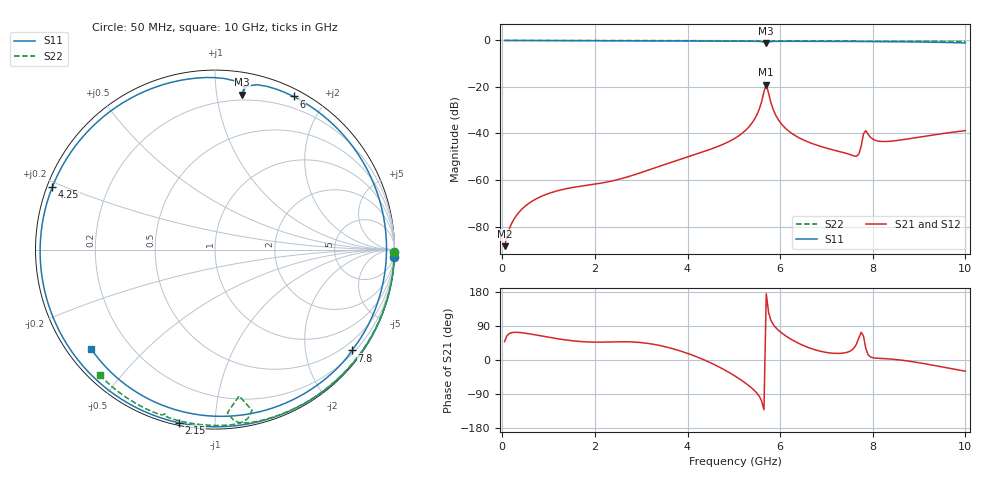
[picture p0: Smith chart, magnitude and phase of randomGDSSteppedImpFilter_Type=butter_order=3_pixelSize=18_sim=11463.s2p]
! freq	dB(S11)	phase(S11)	dB(S12)	phase(S12)
!  dB(S21)	phase(S21)	dB(S22)	phase(S22)
!S-par simulation data
#  GHz  S  DB  R 50
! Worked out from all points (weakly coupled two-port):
!   200 points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, 50 MHz to 10 GHz, reference 50 ohm
!   highest |S21| = -18.94 dB at 5.7 GHz (marker M1); lowest = -88.4 dB at 50 MHz (marker M2)
!   lowest |S11| = -1.2 dB at 5.7 GHz (marker M3), VSWR 15.09, Z = 7.96 + j58.9 ohm
!   |S11| at or under -10 dB: nowhere
!   |S22| runs from -1.7 to 0.0 dB; largest |S21 - S12| = 0
!   S11 on the Smith chart (normalised r, x): 50 MHz: 0, -47; 2.15 GHz: 0.01, -0.81; 4.25 GHz: 0.02, +0.19; 6 GHz: 0.08, +1.63; 7.8 GHz: 0.28, -3.02; 10 GHz: 0.07, -0.35
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0.05  -0.00 -2.4  -88.44 48.5  -88.44 48.5  -0.00 -0.8
0.15  -0.00 -7.3  -81.08 69.6  -81.08 69.6  -0.00 -2.3
0.4  -0.01 -19.5  -72.99 72.3  -72.99 72.3  -0.00 -6.1
0.75  -0.04 -36.4  -67.91 65.6  -67.91 65.6  -0.01 -11.5
1.75  -0.10 -83.4  -62.48 48.2  -62.48 48.2  -0.03 -26.5
2.15  -0.13 -101.8  -61.27 47.2  -61.27 47.2  -0.04 -32.4
2.75  -0.16 -129.3  -58.39 48.0  -58.39 48.0  -0.05 -41.1
3.4  -0.20 -159.5  -54.05 38.3  -54.05 38.3  -0.07 -50.4
4.25  -0.25 159.0  -48.46 5.9  -48.46 5.9  -0.09 -62.3
5.05  -0.31 116.2  -41.72 -44.2  -41.72 -44.2  -0.12 -73.4
5.45  -0.35 93.1  -33.74 -81.2  -33.74 -81.2  -0.16 -79.7
5.7  -1.15 80.1  -18.94 174.9  -18.94 174.9  -1.66 -80.6
5.85  -0.40 72.3  -29.70 93.9  -29.70 93.9  -0.26 -80.6
6  -0.37 62.9  -35.17 74.6  -35.17 74.6  -0.18 -83.7
6.7  -0.38 21.9  -44.38 28.9  -44.38 28.9  -0.19 -93.4
7.15  -0.40 -3.0  -47.10 17.7  -47.10 17.7  -0.21 -99.0
7.65  -0.44 -29.1  -49.77 42.5  -49.77 42.5  -0.25 -105.3
7.7  -0.45 -31.6  -48.82 58.5  -48.82 58.5  -0.27 -106.0
7.8  -0.47 -36.4  -40.09 62.9  -40.09 62.9  -0.38 -107.1
8.35  -0.52 -62.9  -43.37 2.9  -43.37 2.9  -0.29 -113.3
9.2  -0.72 -101.9  -40.94 -11.5  -40.94 -11.5  -0.37 -123.2
10  -1.06 -141.1  -38.75 -29.5  -38.75 -29.5  -0.45 -132.4
